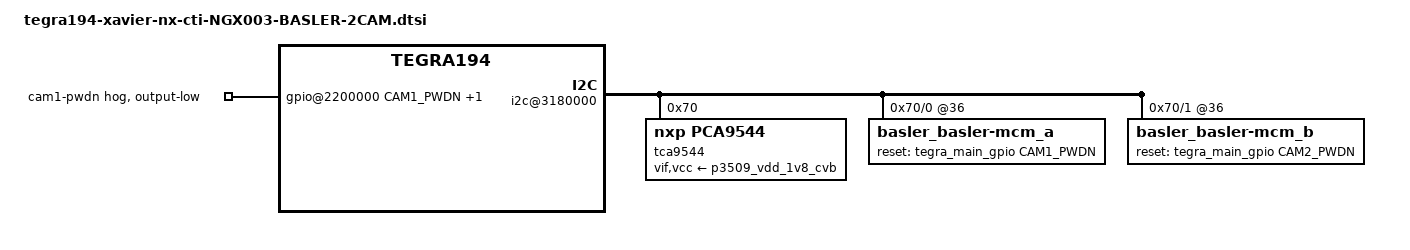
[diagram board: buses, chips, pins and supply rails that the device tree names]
#include "tegra194-cti-camera-basler-2cam-header.dtsi"
#include "tegra194-cti-camera-rpi-imx219-2cam-modes-header.dtsi"
#include "tegra194-cti-camera-2cam-base.dtsi"

#define CAM1_PWDN	TEGRA194_MAIN_GPIO(P, 4)
#define CAM2_PWDN	TEGRA194_MAIN_GPIO(P, 5)
#define CAMERA_I2C_MUX_BUS(x) (0x1E + x)



/ {	

	gpio@2200000 {
		camera-control-output-low {
			gpio-hog;
			output-low;
			gpios = <CAM1_PWDN 0 CAM2_PWDN 0>;
			label = "cam1-pwdn","cam2-pwdn";
		};
	};
	
	i2c@3180000 {
		/delete-node/ tca9546@70;
		tca9544@70 {
			compatible = "nxp,pca9544";
			reg = <0x70>;
			#address-cells = <1>;
			#size-cells = <0>;			
			//skip_mux_detect = "yes";
			vif-supply = <&p3509_vdd_1v8_cvb>;
			vcc-supply = <&p3509_vdd_1v8_cvb>;
			vcc_lp = "vcc";

			i2c@0 {
				status = "okay";
				reg = <0>;	
				i2c-mux,deselect-on-exit;
				#address-cells = <1>;
				#size-cells = <0>;				
				
				basler_basler-mcm_a@36 {
					/* Physical dimensions of sensor */
					physical_w = "3.680";
					physical_h = "2.760";
					use_sensor_mode_id = "true";						
					reset-gpios = <&tegra_main_gpio CAM1_PWDN GPIO_ACTIVE_HIGH>;
					/delete-node/ mode0;
					/delete-node/ mode1;
					/delete-node/ mode2;
					/delete-node/ mode3;
					/delete-node/ mode4;
					/delete-node/ mode5;
					ports {
						port@0 {
							endpoint {
								data-lanes = <1 2>;
								clock-lanes = <0>;
								link-frequencies = /bits/ 64 <600000000>;
							};
						};
					};
				};
			};
			
			i2c@1 {
				status = "okay";
				reg = <1>;
				i2c-mux,deselect-on-exit;
				#address-cells = <1>;
				#size-cells = <0>;				
				
				basler_basler-mcm_b@36 {
					/* Physical dimensions of sensor */
					physical_w = "3.680";
					physical_h = "2.760";
					use_sensor_mode_id = "true";						
					reset-gpios = <&tegra_main_gpio CAM2_PWDN GPIO_ACTIVE_HIGH>;
					/delete-node/ mode0;
					/delete-node/ mode1;
					/delete-node/ mode2;
					/delete-node/ mode3;
					/delete-node/ mode4;
					/delete-node/ mode5;
					ports {
						port@0 {
							endpoint {
								data-lanes = <1 2>;
								clock-lanes = <0>;
								link-frequencies = /bits/ 64 <600000000>;
							};
						};
					};
				};
			};
		};
	};
	
	lens_imx219@RBPCV2 {
			min_focus_distance = "0.0";
			hyper_focal = "0.0";
			focal_length = "3.04";
			f_number = "2.0";
			aperture = "0.0";
		};
		
	tcp: tegra-camera-platform {
	
		num_csi_lanes = <4>;
		max_lane_speed = <1500000>;
		min_bits_per_pixel = <10>;
		vi_peak_byte_per_pixel = <2>;
		vi_bw_margin_pct = <25>;
		max_pixel_rate = <240000>;
		isp_peak_byte_per_pixel = <5>;
		isp_bw_margin_pct = <25>;
		
		modules {
			cam_module0: module0 {
				cam_module0_drivernode1: drivernode1 {
						status = "okay";
					};
			};
			cam_module1: module1 {
				cam_module1_drivernode1: drivernode1 {
						status = "okay";
					};
			};
		};	
	};
};
